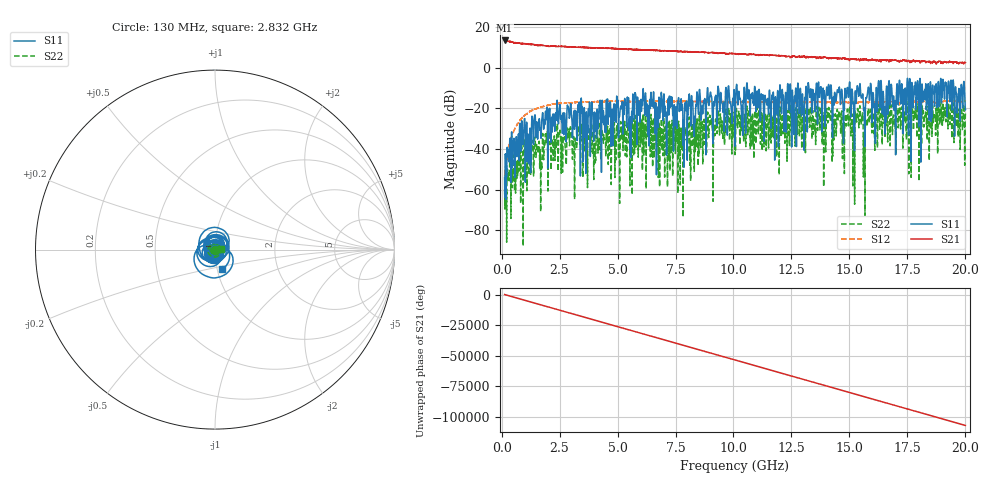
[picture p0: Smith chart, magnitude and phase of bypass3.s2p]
!Created with skrf (http://scikit-rf.org).
# GHz S RI R 50.0
!freq ReS11 ImS11 ReS21 ImS21 ReS12 ImS12 ReS22 ImS22
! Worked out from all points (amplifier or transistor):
!   20013 points, 130 MHz to 20 GHz, reference 50 ohm
!   highest |S21| = 13.4 dB at 130 MHz (marker M1)
!   |S21| within 3 dB of that: start of sweep to 2.389 GHz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
!   unconditionally stable (mu >= 1): start of sweep to end of sweep
!   at 3.465 GHz: K = 1.32, MAG = 10.1 dB, |S12| = -16.9 dB
!   at 10.14 GHz: K = 1.57, MAG = 7.5 dB, |S12| = -17.1 dB
!   at 20 GHz: K = 2.56, MAG = 2.6 dB, |S12| = -16.5 dB
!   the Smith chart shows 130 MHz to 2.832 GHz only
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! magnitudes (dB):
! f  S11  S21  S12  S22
! 130 MHz  -54.3  13.4  -53.6  -60.3
! 464 MHz  -48.9  12.6  -33.0  -58.5
! 957 MHz  -31.2  11.9  -23.9  -39.8
! 1.193 GHz  -42.3  11.5  -21.9  -50.4
! 1.384 GHz  -34.2  11.4  -20.7  -51.6
! 2.913 GHz  -24.6  10.3  -17.3  -31.3
! 3.442 GHz  -16.1  10.1  -17.0  -28.0
! 5.388 GHz  -25.2  9.1  -16.6  -35.8
! 5.54 GHz  -28.8  9.1  -16.7  -42.6
! 6.141 GHz  -14.7  8.8  -16.5  -33.0
! 6.754 GHz  -25.2  8.5  -16.5  -39.1
! 10.06 GHz  -23.1  7.0  -16.8  -40.0
! 13.38 GHz  -22.0  5.4  -16.6  -31.5
! 14.94 GHz  -12.0  4.1  -17.2  -22.9
! 15.14 GHz  -14.1  4.3  -16.9  -30.4
! 15.4 GHz  -13.8  4.2  -16.9  -29.5
! 15.68 GHz  -28.8  4.0  -17.0  -37.2
! 15.86 GHz  -15.2  3.7  -17.0  -27.1
! 16.05 GHz  -17.0  4.0  -16.7  -31.6
! 16.69 GHz  -7.5  3.3  -17.3  -18.7
! 16.93 GHz  -21.0  3.7  -17.0  -28.0
! 20 GHz  -20.6  2.5  -16.5  -22.6
